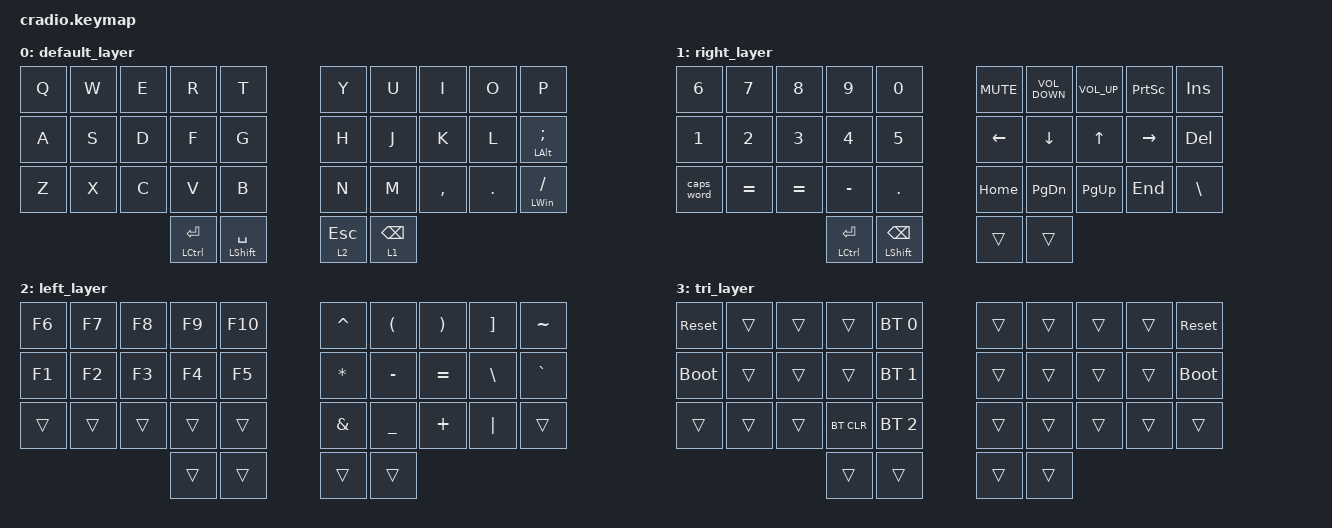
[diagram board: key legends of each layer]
// Copyright (c) 2022 The ZMK Contributors
// SPDX-License-Identifier: MIT

#include <behaviors.dtsi>
#include <dt-bindings/zmk/bt.h>
#include <dt-bindings/zmk/keys.h>

// Home row mods macro

#define HRML(k1,k2,k3,k4) &ht LSHFT k1  &ht LALT k2  &ht LCTRL k3  &ht LGUI k4
#define HRMR(k1,k2,k3,k4) &ht RGUI k1  &ht RCTRL k2  &ht RALT k3  &ht RSHFT k4

&mt {
    quick-tap-ms = <200>;
    flavor = "balanced";
    require-prior-idle-ms = <150>;
};

&lt { quick-tap-ms = <200>; };

/ {
    behaviors {
        ht: hold_tap {
            compatible = "zmk,behavior-hold-tap";
            #binding-cells = <2>;
            flavor = "tap-preferred";
            tapping-term-ms = <220>;
            quick-tap-ms = <200>;
            require-prior-idle-ms = <150>;
            bindings = <&kp>, <&kp>;
        };
    };

    conditional_layers {
        compatible = "zmk,conditional-layers";

        tri_layer {
            if-layers = <1 2>;
            then-layer = <3>;
        };
    };

    combos {
        compatible = "zmk,combos";

        combos_right_par {
            bindings = <&kp RIGHT_PARENTHESIS>;
            key-positions = <2 3>;
            layers = <0>;
        };

        combos_left_par {
            bindings = <&kp LS(LEFT_PARENTHESIS)>;
            key-positions = <6 7>;
            layers = <0>;
        };

        combos_tab {
            bindings = <&kp TAB>;
            key-positions = <12 13>;
            layers = <0>;
        };

        combos_alt {
            bindings = <&kp LEFT_ALT>;
            key-positions = <16 17>;
            layers = <0>;
        };

        combos_right_bracket {
            bindings = <&kp RIGHT_BRACKET>;
            key-positions = <22 23>;
            layers = <0>;
        };

        combos_left_bracket {
            bindings = <&kp LEFT_BRACKET>;
            key-positions = <26 27>;
            layers = <0>;
        };

        combos_asterisk {
            bindings = <&kp LS(N8)>;
            key-positions = <12 13>;
            layers = <1>;
        };

        combos_ampersand {
            bindings = <&kp LS(N7)>;
            key-positions = <16 17>;
            layers = <1>;
        };

        combos_quote {
            bindings = <&kp SQT>;
            key-positions = <17 18>;
        };
    };

    keymap {
        compatible = "zmk,keymap";

        default_layer {
            bindings = <
&kp Q  &kp W  &kp E  &kp R            &kp T               &kp Y         &kp U       &kp I      &kp O    &kp P
&kp A  &kp S  &kp D  &kp F            &kp G               &kp H         &kp J       &kp K      &kp L    &mt LEFT_ALT SEMICOLON
&kp Z  &kp X  &kp C  &kp V            &kp B               &kp N         &kp M       &kp COMMA  &kp DOT  &mt LEFT_WIN SLASH
                     &mt LCTRL ENTER  &mt LSHIFT SPACE    &lt 2 ESCAPE  &lt 1 BSPC
            >;
        };

        right_layer {
            bindings = <
&kp NUMBER_6  &kp N7     &kp N8     &kp N9           &kp N0                  &kp K_MUTE      &kp K_VOLUME_DOWN  &kp K_VOLUME_UP  &kp PRINTSCREEN  &kp INS
&kp N1        &kp N2     &kp N3     &kp N4           &kp N5                  &kp LEFT_ARROW  &kp DOWN_ARROW     &kp UP_ARROW     &kp RIGHT_ARROW  &kp DEL
&caps_word    &kp EQUAL  &kp EQUAL  &kp MINUS        &kp DOT                 &kp HOME        &kp PAGE_DOWN      &kp PAGE_UP      &kp END          &kp BACKSLASH
                                    &mt LCTRL ENTER  &mt LSHIFT BACKSPACE    &trans          &trans
            >;
        };

        left_layer {
            bindings = <
&kp F6  &kp F7  &kp F8  &kp F9  &kp F10    &kp CARET  &kp LPAR   &kp RPAR   &kp RBKT  &kp TILDE
&kp F1  &kp F2  &kp F3  &kp F4  &kp F5     &kp ASTRK  &kp MINUS  &kp EQUAL  &kp BSLH  &kp GRAVE
&trans  &trans  &trans  &trans  &trans     &kp AMPS   &kp UNDER  &kp PLUS   &kp PIPE  &trans
                        &trans  &trans     &trans     &trans
            >;
        };

        tri_layer {
            bindings = <
&sys_reset   &trans  &trans  &trans      &bt BT_SEL 0    &trans  &trans  &trans  &trans  &sys_reset
&bootloader  &trans  &trans  &trans      &bt BT_SEL 1    &trans  &trans  &trans  &trans  &bootloader
&trans       &trans  &trans  &bt BT_CLR  &bt BT_SEL 2    &trans  &trans  &trans  &trans  &trans
                             &trans      &trans          &trans  &trans
            >;
        };
    };
};
